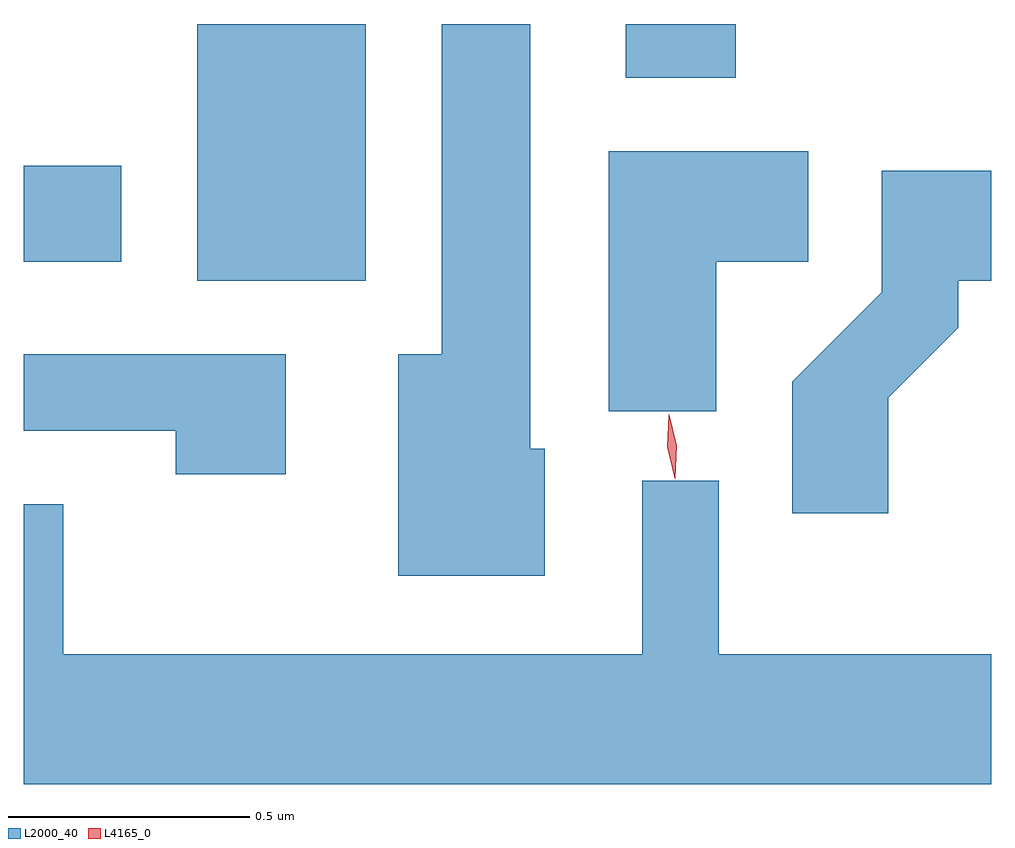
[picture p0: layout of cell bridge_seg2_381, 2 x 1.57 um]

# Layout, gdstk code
import gdstk
lib = gdstk.Library(unit=1e-6, precision=1e-09)
def R(c, l, rs):  # rectangles x0, y0, x1, y1
    for r in rs: c.add(gdstk.rectangle(r[:2], r[2:], *l))
def P(c, l, *ps):  # polygons
    for p in ps: c.add(gdstk.Polygon(p, *l))
L2000_40 = (2000, 40)
L4165_0 = (4165, 0)

bridge_seg2_381 = lib.new_cell('bridge_seg2_381')
R(bridge_seg2_381, L2000_40, [(475.656,1011.616,476.004,1012.147), (475.297,1011.656,475.499,1011.854), (476.541,1012.036,476.769,1012.147)])
P(bridge_seg2_381, L2000_40, [(476.374,1011.269),(476.344,1011.269),(476.344,1012.147),(476.161,1012.147),(476.161,1011.464),(476.071,1011.464),(476.071,1011.006),(476.374,1011.006)],
  [(476.729,1011.656),(476.919,1011.656),(476.919,1011.884),(476.506,1011.884),(476.506,1011.346),(476.729,1011.346)],
  [(477.084,1011.374),(477.229,1011.519),(477.229,1011.616),(477.297,1011.616),(477.297,1011.844),(477.071,1011.844),(477.071,1011.592),(476.886,1011.407),(476.886,1011.136),(477.084,1011.136)],
  [(475.839,1011.464),(475.297,1011.464),(475.297,1011.306),(475.611,1011.306),(475.611,1011.216),(475.839,1011.216)],
  [(477.297,1010.844),(476.734,1010.844),(476.734,1011.203),(476.576,1011.203),(476.576,1010.844),(475.379,1010.844),(475.379,1011.154),(475.297,1011.154),(475.297,1010.576),(477.297,1010.576)])
P(bridge_seg2_381, L4165_0, [(476.644,1011.207),(476.643,1011.208),(476.627,1011.273),(476.63,1011.339),(476.631,1011.34),(476.631,1011.339),(476.647,1011.275),(476.644,1011.208)])

lib.write_gds('bridge_seg2_381.gds')
